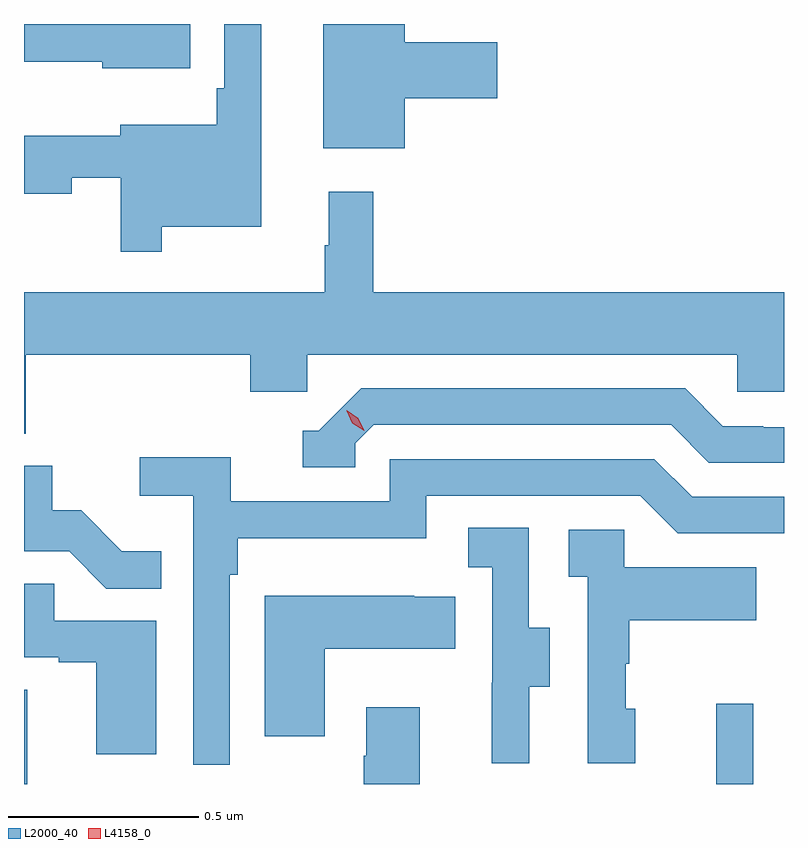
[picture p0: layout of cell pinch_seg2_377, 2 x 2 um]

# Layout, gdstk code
import gdstk
lib = gdstk.Library(unit=1e-6, precision=1e-09)
def R(c, l, rs):  # rectangles x0, y0, x1, y1
    for r in rs: c.add(gdstk.rectangle(r[:2], r[2:], *l))
def P(c, l, *ps):  # polygons
    for p in ps: c.add(gdstk.Polygon(p, *l))
L2000_40 = (2000, 40)
L4158_0 = (4158, 0)

pinch_seg2_377 = lib.new_cell('pinch_seg2_377')
R(pinch_seg2_377, L2000_40, [(1008.976,606.546,1008.985,606.794), (1010.798,606.546,1010.895,606.757)])
P(pinch_seg2_377, L2000_40, [(1009.978,608.351),(1010.221,608.351),(1010.221,608.498),(1009.978,608.498),(1009.978,608.546),(1009.763,608.546),(1009.763,608.219),(1009.978,608.219)],
  [(1009.414,608.546),(1008.976,608.546),(1008.976,608.447),(1009.182,608.447),(1009.182,608.429),(1009.414,608.429)],
  [(1009.339,608.012),(1009.6,608.012),(1009.6,608.546),(1009.503,608.546),(1009.503,608.377),(1009.483,608.377),(1009.483,608.281),(1009.229,608.281),(1009.229,608.252),(1008.976,608.252),(1008.976,608.099),(1009.102,608.099),(1009.102,608.142),(1009.23,608.142),(1009.23,607.947),(1009.339,607.947)],
  [(1008.98,607.676),(1009.571,607.676),(1009.571,607.578),(1009.722,607.578),(1009.722,607.676),(1010.853,607.676),(1010.853,607.578),(1010.976,607.578),(1010.976,607.84),(1009.895,607.84),(1009.895,608.104),(1009.778,608.104),(1009.778,607.964),(1009.767,607.964),(1009.767,607.84),(1008.976,607.84),(1008.976,607.468),(1008.98,607.468)],
  [(1009.848,607.443),(1009.896,607.491),(1010.679,607.491),(1010.778,607.392),(1010.976,607.392),(1010.976,607.485),(1010.922,607.485),(1010.922,607.488),(1010.815,607.488),(1010.716,607.587),(1009.863,607.587),(1009.752,607.476),(1009.709,607.476),(1009.709,607.38),(1009.848,607.38)],
  [(1009.518,607.097),(1009.538,607.097),(1009.538,607.193),(1010.034,607.193),(1010.034,607.305),(1010.598,607.305),(1010.697,607.206),(1010.976,607.206),(1010.976,607.302),(1010.734,607.302),(1010.635,607.401),(1009.938,607.401),(1009.938,607.29),(1009.52,607.29),(1009.52,607.406),(1009.281,607.406),(1009.281,607.304),(1009.422,607.304),(1009.422,606.597),(1009.518,606.597)],
  [(1009.337,607.159),(1009.233,607.159),(1009.126,607.266),(1009.05,607.266),(1009.05,607.383),(1008.976,607.383),(1008.976,607.158),(1009.095,607.158),(1009.193,607.06),(1009.337,607.06)],
  [(1010.305,606.802),(1010.359,606.802),(1010.359,606.957),(1010.304,606.957),(1010.304,607.22),(1010.145,607.22),(1010.145,607.117),(1010.208,607.117),(1010.208,606.813),(1010.207,606.813),(1010.207,606.6),(1010.305,606.6)],
  [(1010.584,606.744),(1010.559,606.744),(1010.559,606.863),(1010.569,606.863),(1010.569,606.977),(1010.903,606.977),(1010.903,607.117),(1010.556,607.117),(1010.556,607.215),(1010.409,607.215),(1010.409,607.091),(1010.46,607.091),(1010.46,606.6),(1010.584,606.6)],
  [(1009.324,606.975),(1009.055,606.975),(1009.055,607.073),(1008.976,607.073),(1008.976,606.879),(1009.067,606.879),(1009.067,606.867),(1009.166,606.867),(1009.166,606.624),(1009.324,606.624)],
  [(1009.768,606.902),(1010.111,606.902),(1010.111,607.039),(1010.003,607.039),(1010.003,607.042),(1009.61,607.042),(1009.61,606.672),(1009.768,606.672)],
  [(1010.017,606.748),(1009.877,606.748),(1009.877,606.62),(1009.87,606.62),(1009.87,606.546),(1010.017,606.546)])
P(pinch_seg2_377, L4158_0, [(1009.871,607.476),(1009.84,607.496),(1009.825,607.528),(1009.825,607.529),(1009.825,607.529),(1009.855,607.509),(1009.871,607.477),(1009.871,607.476)])

lib.write_gds('pinch_seg2_377.gds')
